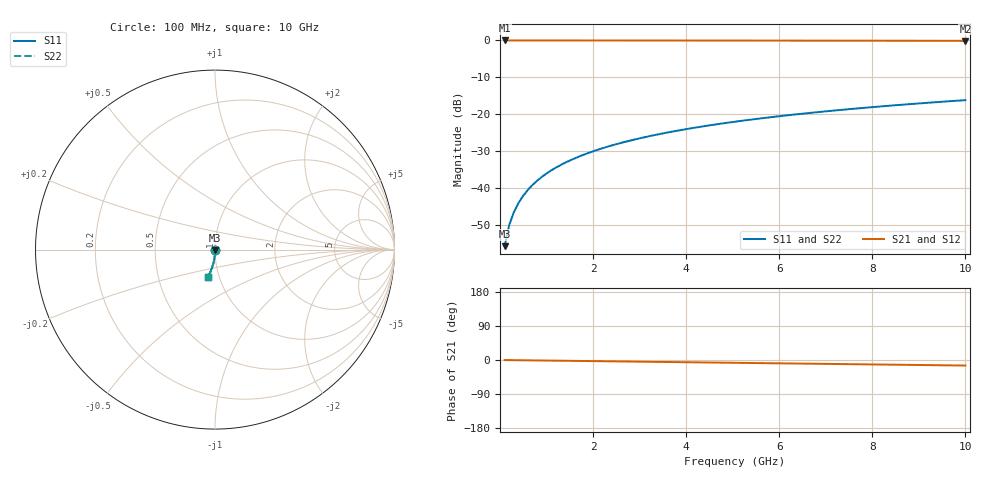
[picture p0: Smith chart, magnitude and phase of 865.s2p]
# Hz S RI R 50.00
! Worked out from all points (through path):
!   100 points, 100 MHz to 10 GHz, reference 50 ohm
!   highest |S21| = 0.00 dB at 100 MHz (marker M1); lowest = -0.1 dB at 10 GHz (marker M2)
!   group delay of S21, straight-line fit = 4.06 ps
!   lowest |S11| = -55.7 dB at 100 MHz (marker M3), VSWR 1.00, Z = 50 - j0.158 ohm
!   |S11| at or under -10 dB: start of sweep to end of sweep
!   |S22| runs from -55.7 to -16.2 dB; largest |S21 - S12| = 0
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1e8  0.000441 -0.00158  0.9995 -0.00256  0.9995 -0.00256  0.000441 -0.00158
2e8  0.00043 -0.00315  0.9995 -0.00512  0.9995 -0.00512  0.00043 -0.00315
3e8  0.00041 -0.00473  0.9995 -0.00767  0.9995 -0.00767  0.00041 -0.00473
4e8  0.000381 -0.00631  0.9995 -0.0102  0.9995 -0.0102  0.000381 -0.00631
5e8  0.000345 -0.00788  0.9994 -0.0128  0.9994 -0.0128  0.000345 -0.00788
6e8  0.0003 -0.00946  0.9994 -0.0153  0.9994 -0.0153  0.0003 -0.00946
7e8  0.000246 -0.011  0.9993 -0.0179  0.9993 -0.0179  0.000246 -0.011
8e8  0.000185 -0.0126  0.9992 -0.0205  0.9992 -0.0205  0.000185 -0.0126
9e8  0.000116 -0.0142  0.9992 -0.023  0.9992 -0.023  0.000116 -0.0142
1.1e9  -4.76e-05 -0.0173  0.999 -0.0281  0.999 -0.0281  -4.76e-05 -0.0173
1.4e9  -0.000353 -0.0221  0.9986 -0.0358  0.9986 -0.0358  -0.000353 -0.0221
1.8e9  -0.000874 -0.0283  0.998 -0.046  0.998 -0.046  -0.000874 -0.0283
2.1e9  -0.00135 -0.0331  0.9975 -0.0537  0.9975 -0.0537  -0.00135 -0.0331
2.5e9  -0.00209 -0.0393  0.9967 -0.0639  0.9967 -0.0639  -0.00209 -0.0393
2.9e9  -0.00297 -0.0456  0.9957 -0.074  0.9957 -0.074  -0.00297 -0.0456
3.4e9  -0.00424 -0.0533  0.9942 -0.0867  0.9942 -0.0867  -0.00424 -0.0533
4.2e9  -0.00669 -0.0657  0.9915 -0.107  0.9915 -0.107  -0.00669 -0.0657
5.1e9  -0.01 -0.0795  0.9877 -0.1296  0.9877 -0.1296  -0.01 -0.0795
5.9e9  -0.0135 -0.0916  0.9838 -0.1496  0.9838 -0.1496  -0.0135 -0.0916
6.7e9  -0.0175 -0.1035  0.9793 -0.1694  0.9793 -0.1694  -0.0175 -0.1035
8.4e9  -0.0276 -0.1282  0.968 -0.2109  0.968 -0.2109  -0.0276 -0.1282
1e10  -0.0389 -0.1504  0.9552 -0.249  0.9552 -0.249  -0.0389 -0.1504
